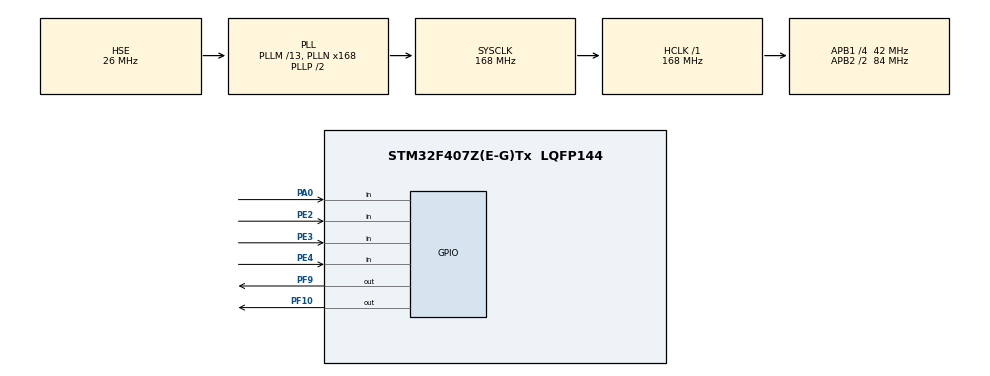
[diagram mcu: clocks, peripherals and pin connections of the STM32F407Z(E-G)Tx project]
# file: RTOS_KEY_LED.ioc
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FREERTOS.Tasks01=defaultTask,0,128,StartDefaultTask,Default,NULL,Dynamic,NULL,NULL
Mcu.Family=STM32F4
Mcu.Name=STM32F407Z(E-G)Tx
Mcu.Package=LQFP144
NVIC.PriorityGroup=NVIC_PRIORITYGROUP_4
NVIC.TIM6_DAC_IRQn=true\:15\:0\:false\:false\:true\:false\:false\:true
NVIC.TimeBase=TIM6_DAC_IRQn
NVIC.TimeBaseIP=TIM6
PA0-WKUP.GPIO_PuPd=GPIO_PULLDOWN
PA0-WKUP.Signal=GPIO_Input
PA13.Mode=Serial_Wire
PA13.Signal=SYS_JTMS-SWDIO
PA14.Mode=Serial_Wire
PA14.Signal=SYS_JTCK-SWCLK
PC14-OSC32_IN.Mode=LSE-External-Oscillator
PC14-OSC32_IN.Signal=RCC_OSC32_IN
PC15-OSC32_OUT.Mode=LSE-External-Oscillator
PC15-OSC32_OUT.Signal=RCC_OSC32_OUT
PE2.GPIO_Mode=GPIO_MODE_INPUT
PE2.GPIO_PuPd=GPIO_PULLUP
PE2.Signal=GPIO_Input
PE3.GPIO_PuPd=GPIO_PULLUP
PE3.Signal=GPIO_Input
PE4.GPIO_Mode=GPIO_MODE_INPUT
PE4.GPIO_PuPd=GPIO_PULLUP
PE4.Signal=GPIO_Input
PF10.GPIO_ModeDefaultOutputPP=GPIO_MODE_OUTPUT_PP
PF10.GPIO_PuPd=GPIO_PULLUP
PF10.GPIO_Speed=GPIO_SPEED_FREQ_HIGH
PF10.Signal=GPIO_Output
PF9.GPIO_PuPd=GPIO_PULLUP
PF9.GPIO_Speed=GPIO_SPEED_FREQ_HIGH
PF9.PinState=GPIO_PIN_RESET
PF9.Signal=GPIO_Output
PH0-OSC_IN.Mode=HSE-External-Oscillator
PH0-OSC_IN.Signal=RCC_OSC_IN
PH1-OSC_OUT.Mode=HSE-External-Oscillator
PH1-OSC_OUT.Signal=RCC_OSC_OUT
ProjectManager.HeapSize=0x200
ProjectManager.StackSize=0x400
ProjectManager.TargetToolchain=MDK-ARM V5.32
RCC.48MHZClocksFreq_Value=84000000
RCC.AHBFreq_Value=168000000
RCC.APB1CLKDivider=RCC_HCLK_DIV4
RCC.APB1Freq_Value=42000000
RCC.APB1TimFreq_Value=84000000
RCC.APB2CLKDivider=RCC_HCLK_DIV2
RCC.APB2Freq_Value=84000000
RCC.APB2TimFreq_Value=168000000
RCC.CortexFreq_Value=168000000
RCC.HCLKFreq_Value=168000000
RCC.HSE_VALUE=26000000
RCC.HSI_VALUE=16000000
RCC.PLLM=13
RCC.PLLN=168
RCC.PLLSourceVirtual=RCC_PLLSOURCE_HSE
RCC.SYSCLKFreq_VALUE=168000000
RCC.SYSCLKSource=RCC_SYSCLKSOURCE_PLLCLK
RCC.VCOOutputFreq_Value=336000000
VP_FREERTOS_VS_CMSIS_V1.Mode=CMSIS_V1
VP_SYS_VS_tim6.Mode=TIM6
board=custom

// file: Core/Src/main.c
/* USER CODE BEGIN Header */
/**
 ******************************************************************************
 * @file           : main.c
 * @brief          : Main program body
 ******************************************************************************
 * @attention
 *
 * <h2><center>&copy; Copyright (c) 2024 STMicroelectronics.
 * All rights reserved.</center></h2>
 *
 * This software component is licensed by ST under Ultimate Liberty license
 * SLA0044, the "License"; You may not use this file except in compliance with
 * the License. You may obtain a copy of the License at:
 *                             www.st.com/SLA0044
 *
 ******************************************************************************
 */
/* USER CODE END Header */
#include "main.h"
#include "cmsis_os.h"
#include "gpio.h"
#include "stdint.h"

void SystemClock_Config(void);
void MX_FREERTOS_Init(void);

int main(void)
{

  /* MCU Configuration--------------------------------------------------------*/

  /* Reset of all peripherals, Initializes the Flash interface and the Systick. */
  HAL_Init();

  /* Configure the system clock */
  SystemClock_Config();

  /* Initialize all configured peripherals */
  MX_GPIO_Init();

  /* Call init function for freertos objects (in freertos.c) */
  MX_FREERTOS_Init();
  /* Start scheduler */
  osKernelStart();

  /* We should never get here as control is now taken by the scheduler */
  /* Infinite loop */
  while (1)
  {

  }
}

void SystemClock_Config(void)
{
  RCC_OscInitTypeDef RCC_OscInitStruct = {0};
  RCC_ClkInitTypeDef RCC_ClkInitStruct = {0};

  /** Configure the main internal regulator output voltage
   */
  __HAL_RCC_PWR_CLK_ENABLE();
  __HAL_PWR_VOLTAGESCALING_CONFIG(PWR_REGULATOR_VOLTAGE_SCALE1);
  /** Initializes the RCC Oscillators according to the specified parameters
   * in the RCC_OscInitTypeDef structure.
   */
  RCC_OscInitStruct.OscillatorType = RCC_OSCILLATORTYPE_HSE;
  RCC_OscInitStruct.HSEState = RCC_HSE_ON;
  RCC_OscInitStruct.PLL.PLLState = RCC_PLL_ON;
  RCC_OscInitStruct.PLL.PLLSource = RCC_PLLSOURCE_HSE;
  RCC_OscInitStruct.PLL.PLLM = 13;
  RCC_OscInitStruct.PLL.PLLN = 168;
  RCC_OscInitStruct.PLL.PLLP = RCC_PLLP_DIV2;
  RCC_OscInitStruct.PLL.PLLQ = 4;
  if (HAL_RCC_OscConfig(&RCC_OscInitStruct) != HAL_OK)
  {
    Error_Handler();
  }
  /** Initializes the CPU, AHB and APB buses clocks
   */
  RCC_ClkInitStruct.ClockType = RCC_CLOCKTYPE_HCLK | RCC_CLOCKTYPE_SYSCLK | RCC_CLOCKTYPE_PCLK1 | RCC_CLOCKTYPE_PCLK2;
  RCC_ClkInitStruct.SYSCLKSource = RCC_SYSCLKSOURCE_PLLCLK;
  RCC_ClkInitStruct.AHBCLKDivider = RCC_SYSCLK_DIV1;
  RCC_ClkInitStruct.APB1CLKDivider = RCC_HCLK_DIV4;
  RCC_ClkInitStruct.APB2CLKDivider = RCC_HCLK_DIV2;

  if (HAL_RCC_ClockConfig(&RCC_ClkInitStruct, FLASH_LATENCY_5) != HAL_OK)
  {
    Error_Handler();
  }
}

void HAL_TIM_PeriodElapsedCallback(TIM_HandleTypeDef *htim)
{
  if (htim->Instance == TIM6)
  {
    HAL_IncTick();
  }
}

void Error_Handler(void)
{
  __disable_irq();
  while (1)
  {
  }
}

/************************ (C) COPYRIGHT STMicroelectronics *****END OF FILE****/

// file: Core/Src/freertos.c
/* USER CODE BEGIN Header */
/**
  ******************************************************************************
  * File Name          : freertos.c
  * Description        : Code for freertos applications
  ******************************************************************************
  * @attention
  *
  * <h2><center>&copy; Copyright (c) 2024 STMicroelectronics.
  * All rights reserved.</center></h2>
  *
  * This software component is licensed by ST under Ultimate Liberty license
  * SLA0044, the "License"; You may not use this file except in compliance with
  * the License. You may obtain a copy of the License at:
  *                             www.st.com/SLA0044
  *
  ******************************************************************************
  */
/* USER CODE END Header */

#include "FreeRTOS.h"
#include "task.h"
#include "main.h"
#include "cmsis_os.h"

osThreadId defaultTaskHandle;

void StartDefaultTask(void const * argument);

void MX_FREERTOS_Init(void); /* (MISRA C 2004 rule 8.1) */

/* GetIdleTaskMemory prototype (linked to static allocation support) */
void vApplicationGetIdleTaskMemory( StaticTask_t **ppxIdleTaskTCBBuffer, StackType_t **ppxIdleTaskStackBuffer, uint32_t *pulIdleTaskStackSize );

/* USER CODE BEGIN GET_IDLE_TASK_MEMORY */
static StaticTask_t xIdleTaskTCBBuffer;
static StackType_t xIdleStack[configMINIMAL_STACK_SIZE];

void vApplicationGetIdleTaskMemory( StaticTask_t **ppxIdleTaskTCBBuffer, StackType_t **ppxIdleTaskStackBuffer, uint32_t *pulIdleTaskStackSize )
{
  *ppxIdleTaskTCBBuffer = &xIdleTaskTCBBuffer;
  *ppxIdleTaskStackBuffer = &xIdleStack[0];
  *pulIdleTaskStackSize = configMINIMAL_STACK_SIZE;
  /* place for user code */
}
/* USER CODE END GET_IDLE_TASK_MEMORY */

void MX_FREERTOS_Init(void) {

  /* Create the thread(s) */
  /* definition and creation of defaultTask */
  osThreadDef(defaultTask, StartDefaultTask, osPriorityNormal, 0, 128);
  defaultTaskHandle = osThreadCreate(osThread(defaultTask), NULL);

}

void StartDefaultTask(void const * argument)
{
	static uint8_t a = 0, b = 0;
  /* USER CODE BEGIN StartDefaultTask */
  /* Infinite loop */
  // 交替闪烁
  for (size_t i = 0; i < 10; i++)
  {
    HAL_GPIO_WritePin(GPIOF, GPIO_PIN_9 | GPIO_PIN_10, SET); // 熄灭两个灯泡
    HAL_Delay(20);
    HAL_GPIO_WritePin(GPIOF, GPIO_PIN_9 | GPIO_PIN_10, RESET); // 点亮两个灯泡
    HAL_Delay(20);
  }
  HAL_GPIO_WritePin(GPIOF, GPIO_PIN_9 | GPIO_PIN_10, SET); // 熄灭两个灯泡
  for(;;)
  {
    if (!HAL_GPIO_ReadPin(GPIOE, GPIO_PIN_2))
    {                // 检测按键是否按下
      HAL_Delay(20); // 延时去抖动
      if (!HAL_GPIO_ReadPin(GPIOE, GPIO_PIN_2))
      { // 判断长短键
        while (!HAL_GPIO_ReadPin(GPIOE, GPIO_PIN_2)&& a < 100)
          { // 循环判断长按，到时跳转
            a++;
            HAL_Delay(10); // 长按判断的计时
          }
        if (a >= 100)
        { // 长键处理
          // 长按后执行程序
          HAL_GPIO_WritePin(GPIOF, GPIO_PIN_9 | GPIO_PIN_10, RESET); // 点亮两个灯泡
		  HAL_Delay(2000); // 长按判断的计时
          while (!HAL_GPIO_ReadPin(GPIOE, GPIO_PIN_2))
            ; // 一直按不退出
        }
        else
        { // 单击处理
          for (b = 0; b < 20; b++)
          { // 检测双击
            HAL_Delay(20);
            if (!HAL_GPIO_ReadPin(GPIOE, GPIO_PIN_2))
            {
              a = 0;
              // 双击后执行程序
              // 交替闪烁
              for (size_t i = 0; i < 10; i++)
              {
                HAL_GPIO_WritePin(GPIOF, GPIO_PIN_9 | GPIO_PIN_10, SET); // 熄灭两个灯泡
                HAL_Delay(20);
                HAL_GPIO_WritePin(GPIOF, GPIO_PIN_9 | GPIO_PIN_10, RESET); // 点亮两个灯泡
                HAL_Delay(20);
              }
              while (!HAL_GPIO_ReadPin(GPIOE, GPIO_PIN_2))
                ; // 等待放手
            }
          }
          if (a < 50 && a!=0)
          { // 判断单击
            // 单击后执行程序 交替闪烁
            HAL_GPIO_WritePin(GPIOF, GPIO_PIN_9 | GPIO_PIN_10, SET); // 熄灭两个灯泡
            HAL_GPIO_WritePin(GPIOF, GPIO_PIN_9, RESET);             // 点亮一个
            for (size_t i = 0; i < 10; i++)
            {
              HAL_Delay(200);
              HAL_GPIO_TogglePin(GPIOF, GPIO_PIN_9 | GPIO_PIN_10);
            }
          }
        }
      }
    } // 按键判断在此结束
	a = 0;
    b = 0; // 参数清0
	HAL_GPIO_WritePin(GPIOF, GPIO_PIN_9 | GPIO_PIN_10, SET); // 熄灭两个灯泡
  }
  /* USER CODE END StartDefaultTask */
}

/************************ (C) COPYRIGHT STMicroelectronics *****END OF FILE****/
